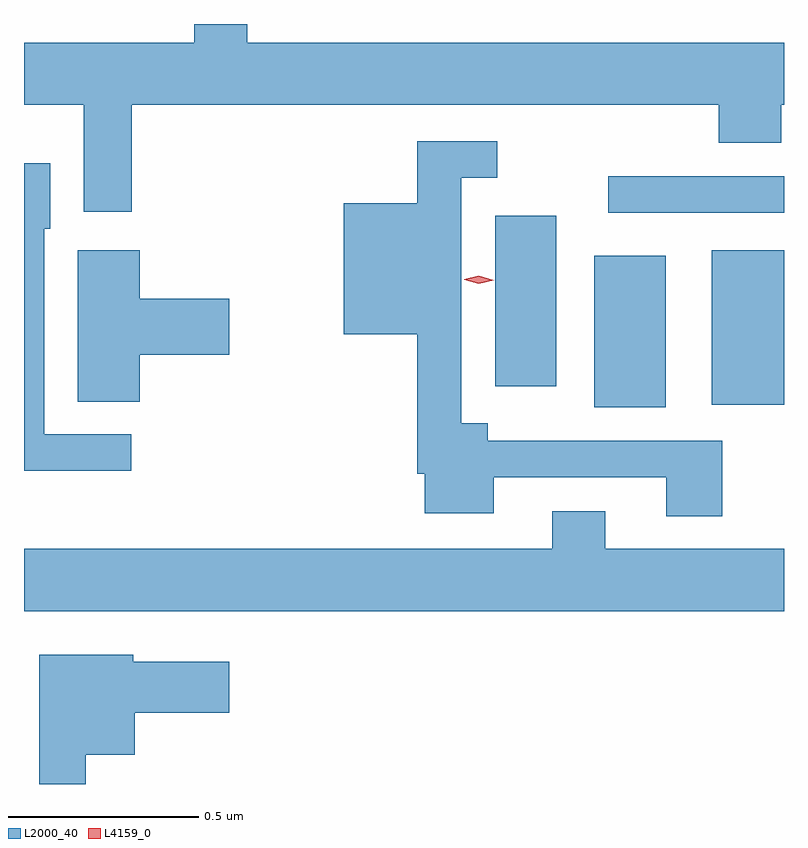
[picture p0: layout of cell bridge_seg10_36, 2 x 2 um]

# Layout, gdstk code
import gdstk
lib = gdstk.Library(unit=1e-6, precision=1e-09)
def R(c, l, rs):  # rectangles x0, y0, x1, y1
    for r in rs: c.add(gdstk.rectangle(r[:2], r[2:], *l))
def P(c, l, *ps):  # polygons
    for p in ps: c.add(gdstk.Polygon(p, *l))
L2000_40 = (2000, 40)
L4159_0 = (4159, 0)

bridge_seg10_36 = lib.new_cell('bridge_seg10_36')
R(bridge_seg10_36, L2000_40, [(940.142,1319.501,940.33,1319.899), (940.451,1319.507,940.641,1319.914), (939.881,1319.556,940.042,1320.004), (940.179,1320.012,940.641,1320.108)])
P(bridge_seg10_36, L2000_40, [(938.924,1320.296),(940.469,1320.296),(940.469,1320.197),(940.634,1320.197),(940.634,1320.296),(940.641,1320.296),(940.641,1320.46),(939.228,1320.46),(939.228,1320.509),(939.089,1320.509),(939.089,1320.46),(938.641,1320.46),(938.641,1320.296),(938.798,1320.296),(938.798,1320.015),(938.924,1320.015)],
  [(940.479,1319.412),(939.862,1319.412),(939.862,1319.458),(939.792,1319.458),(939.792,1320.105),(939.886,1320.105),(939.886,1320.201),(939.676,1320.201),(939.676,1320.037),(939.482,1320.037),(939.482,1319.693),(939.676,1319.693),(939.676,1319.326),(939.695,1319.326),(939.695,1319.222),(939.877,1319.222),(939.877,1319.316),(940.331,1319.316),(940.331,1319.214),(940.479,1319.214)],
  [(938.923,1319.43),(938.694,1319.43),(938.694,1319.97),(938.71,1319.97),(938.71,1320.142),(938.641,1320.142),(938.641,1319.333),(938.923,1319.333)],
  [(938.945,1319.639),(939.181,1319.639),(939.181,1319.786),(938.945,1319.786),(938.945,1319.914),(938.783,1319.914),(938.783,1319.515),(938.945,1319.515)],
  [(940.641,1319.128),(940.171,1319.128),(940.171,1319.227),(940.031,1319.227),(940.031,1319.128),(938.641,1319.128),(938.641,1318.964),(940.641,1318.964)],
  [(938.803,1318.586),(938.932,1318.586),(938.932,1318.697),(939.181,1318.697),(939.181,1318.831),(938.928,1318.831),(938.928,1318.849),(938.681,1318.849),(938.681,1318.509),(938.803,1318.509)])
P(bridge_seg10_36, L4159_0, [(939.838,1319.826),(939.799,1319.836),(939.799,1319.836),(939.799,1319.837),(939.838,1319.846),(939.877,1319.835),(939.877,1319.835),(939.877,1319.835)])

lib.write_gds('bridge_seg10_36.gds')
